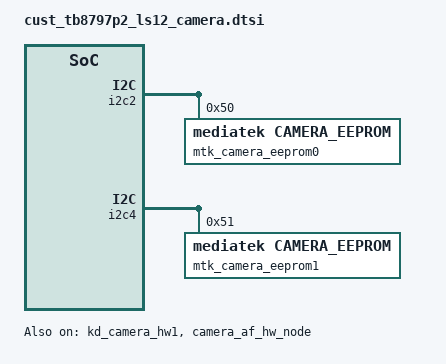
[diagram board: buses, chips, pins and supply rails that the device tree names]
// SPDX-License-Identifier: GPL-2.0
/*
 * Copyright (c) 2018 MediaTek Inc.
 */
/* CAMERA GPIO standardization */
&pio {
	camera_pins_cam0_rst_0: cam0@0 {
		pins_cmd_dat {
			pinmux = <PINMUX_GPIO147__FUNC_GPIO147>;
			slew-rate = <1>;
			output-low;
		};
	};
	camera_pins_cam0_rst_1: cam0@1 {
		pins_cmd_dat {
			pinmux = <PINMUX_GPIO147__FUNC_GPIO147>;
			slew-rate = <1>;
			output-high;
		};
	};
	camera_pins_cam0_pnd_0: cam0@2 {
		pins_cmd_dat {
			pinmux = <PINMUX_GPIO137__FUNC_GPIO137>;
			slew-rate = <1>;
			output-low;
		};
	};
	camera_pins_cam0_pnd_1: cam0@3 {
		pins_cmd_dat {
			pinmux = <PINMUX_GPIO137__FUNC_GPIO137>;
			slew-rate = <1>;
			output-high;
		};
	};
	camera_pins_cam0_af_0: cam0@4 {
		pins_cmd_dat {
			pinmux = <PINMUX_GPIO148__FUNC_GPIO148>;
			slew-rate = <1>;
			output-low;
		};
	};
	camera_pins_cam0_af_1: cam0@5 {
		pins_cmd_dat {
			pinmux = <PINMUX_GPIO148__FUNC_GPIO148>;
			slew-rate = <1>;
			output-high;
		};
	};
	camera_pins_cam1_rst_0: cam1@0 {
		pins_cmd_dat {
			pinmux = <PINMUX_GPIO133__FUNC_GPIO133>;
			slew-rate = <1>;
			output-low;
		};
	};
	camera_pins_cam1_rst_1: cam1@1 {
		pins_cmd_dat {
			pinmux = <PINMUX_GPIO133__FUNC_GPIO133>;
			slew-rate = <1>;
			output-high;
		};
	};
	camera_pins_cam1_pnd_0: cam1@2 {
		pins_cmd_dat {
			pinmux = <PINMUX_GPIO133__FUNC_GPIO133>;
			slew-rate = <1>;
			output-low;
		};
	};
	camera_pins_cam1_pnd_1: cam1@3 {
		pins_cmd_dat {
			pinmux = <PINMUX_GPIO133__FUNC_GPIO133>;
			slew-rate = <1>;
			output-high;
		};
	};
	camera_pins_cam3_rst_0: cam3@0 {
		pins_cmd_dat {
			pinmux = <PINMUX_GPIO146__FUNC_GPIO146>;
			slew-rate = <1>;
			output-low;
		};
	};
	camera_pins_cam3_rst_1: cam3@1 {
		pins_cmd_dat {
			pinmux = <PINMUX_GPIO146__FUNC_GPIO146>;
			slew-rate = <1>;
			output-high;
		};
	};
	camera_pins_cam3_pnd_0: cam3@2 {
		pins_cmd_dat {
			pinmux = <PINMUX_GPIO146__FUNC_GPIO146>;
			slew-rate = <1>;
			output-low;
		};
	};
	camera_pins_cam3_pnd_1: cam3@3 {
		pins_cmd_dat {
			pinmux = <PINMUX_GPIO146__FUNC_GPIO146>;
			slew-rate = <1>;
			output-high;
		};
	};
	camera_pins_cam0_vcamd_0: cam0@vcam0 {
		pins_cmd_dat {
			pinmux = <PINMUX_GPIO50__FUNC_GPIO50>;
			slew-rate = <1>;
			output-low;
		};
	};
	camera_pins_cam0_vcamd_1: cam0@vcam1 {
		pins_cmd_dat {
			pinmux = <PINMUX_GPIO50__FUNC_GPIO50>;
			slew-rate = <1>;
			output-high;
		};
	};
	camera_pins_cam0_vcama_0: cam0@vcam2 {
		pins_cmd_dat {
			pinmux = <PINMUX_GPIO49__FUNC_GPIO49>;
			slew-rate = <1>;
			output-low;
		};
	};
	camera_pins_cam0_vcama_1: cam0@vcam3 {
		pins_cmd_dat {
			pinmux = <PINMUX_GPIO49__FUNC_GPIO49>;
			slew-rate = <1>;
			output-high;
		};
	};
	camera_pins_cam1_vcamd_0: cam1@vcam0 {
		pins_cmd_dat {
			pinmux = <PINMUX_GPIO135__FUNC_GPIO135>;
			slew-rate = <1>;
			output-low;
		};
	};
	camera_pins_cam1_vcamd_1: cam1@vcam1 {
		pins_cmd_dat {
			pinmux = <PINMUX_GPIO135__FUNC_GPIO135>;
			slew-rate = <1>;
			output-high;
		};
	};
	camera_pins_cam1_vcama_0: cam1@vcam2 {
		pins_cmd_dat {
			pinmux = <PINMUX_GPIO134__FUNC_GPIO134>;
			slew-rate = <1>;
			output-low;
		};
	};
	camera_pins_cam1_vcama_1: cam1@vcam3 {
		pins_cmd_dat {
			pinmux = <PINMUX_GPIO134__FUNC_GPIO134>;
			slew-rate = <1>;
			output-high;
		};
	};
	camera_pins_cam3_vcamd_0: cam3@vcam0 {
		pins_cmd_dat {
			pinmux = <PINMUX_GPIO138__FUNC_GPIO138>;
			slew-rate = <1>;
			output-low;
		};
	};
	camera_pins_cam3_vcamd_1: cam3@vcam1 {
		pins_cmd_dat {
			pinmux = <PINMUX_GPIO138__FUNC_GPIO138>;
			slew-rate = <1>;
			output-high;
		};
	};
	camera_pins_cam3_vcama_0: cam3@vcam2 {
		pins_cmd_dat {
			pinmux = <PINMUX_GPIO137__FUNC_GPIO137>;
			slew-rate = <1>;
			output-low;
		};
	};
	camera_pins_cam3_vcama_1: cam3@vcam3 {
		pins_cmd_dat {
			pinmux = <PINMUX_GPIO137__FUNC_GPIO137>;
			slew-rate = <1>;
			output-high;
		};
	};
	camera_pins_cam0_mclk_off: camera_pins_cam0_mclk_off {
		pins_cmd_dat {
			pinmux = <PINMUX_GPIO150__FUNC_GPIO150>;
			drive-strength = <1>;
		};
	};
	camera_pins_cam0_mclk_2ma: camera_pins_cam0_mclk_2ma {
		pins_cmd_dat {
			pinmux = <PINMUX_GPIO150__FUNC_CMMCLK1>;
			drive-strength = <0>;
		};
	};
	camera_pins_cam0_mclk_4ma: camera_pins_cam0_mclk_4ma {
		pins_cmd_dat {
			pinmux = <PINMUX_GPIO150__FUNC_CMMCLK1>;
			drive-strength = <1>;
		};
	};
	camera_pins_cam0_mclk_6ma: camera_pins_cam0_mclk_6ma {
		pins_cmd_dat {
			pinmux = <PINMUX_GPIO150__FUNC_CMMCLK1>;
			drive-strength = <2>;
		};
	};
	camera_pins_cam0_mclk_8ma: camera_pins_cam0_mclk_8ma {
		pins_cmd_dat {
			pinmux = <PINMUX_GPIO150__FUNC_CMMCLK1>;
			drive-strength = <3>;
		};
	};
	camera_pins_cam1_mclk_off: camera_pins_cam1_mclk_off {
		pins_cmd_dat {
			pinmux = <PINMUX_GPIO136__FUNC_GPIO136>;
			drive-strength = <1>;
		};
	};
	camera_pins_cam1_mclk_2ma: camera_pins_cam1_mclk_2ma {
		pins_cmd_dat {
			pinmux = <PINMUX_GPIO136__FUNC_CMMCLK3>;
			drive-strength = <0>;
		};
	};
	camera_pins_cam1_mclk_4ma: camera_pins_cam1_mclk_4ma {
		pins_cmd_dat {
			pinmux = <PINMUX_GPIO136__FUNC_CMMCLK3>;
			drive-strength = <1>;
		};
	};
	camera_pins_cam1_mclk_6ma: camera_pins_cam1_mclk_6ma {
		pins_cmd_dat {
			pinmux = <PINMUX_GPIO136__FUNC_CMMCLK3>;
			drive-strength = <2>;
		};
	};
	camera_pins_cam1_mclk_8ma: camera_pins_cam1_mclk_8ma {
		pins_cmd_dat {
			pinmux = <PINMUX_GPIO136__FUNC_CMMCLK3>;
			drive-strength = <3>;
		};
	};
	camera_pins_cam3_mclk_off: camera_pins_cam3_mclk_off {
		pins_cmd_dat {
			pinmux = <PINMUX_GPIO149__FUNC_GPIO149>;
			drive-strength = <1>;
		};
	};
	camera_pins_cam3_mclk_2ma: camera_pins_cam3_mclk_2ma {
		pins_cmd_dat {
			pinmux = <PINMUX_GPIO149__FUNC_CMMCLK0>;
			drive-strength = <0>;
		};
	};
	camera_pins_cam3_mclk_4ma: camera_pins_cam3_mclk_4ma {
		pins_cmd_dat {
			pinmux = <PINMUX_GPIO149__FUNC_CMMCLK0>;
			drive-strength = <1>;
		};
	};
	camera_pins_cam3_mclk_6ma: camera_pins_cam3_mclk_6ma {
		pins_cmd_dat {
			pinmux = <PINMUX_GPIO149__FUNC_CMMCLK0>;
			drive-strength = <2>;
		};
	};
	camera_pins_cam3_mclk_8ma: camera_pins_cam3_mclk_8ma {
		pins_cmd_dat {
			pinmux = <PINMUX_GPIO149__FUNC_CMMCLK0>;
			drive-strength = <3>;
		};
	};
	camera_pins_default: camdefault {
	};
};
&kd_camera_hw1 {
	pinctrl-names = "default",
			"cam0_rst0", "cam0_rst1",
			"cam0_pnd0", "cam0_pnd1",
			"cam1_rst0", "cam1_rst1",
			"cam1_pnd0", "cam1_pnd1",
			"cam3_rst0", "cam3_rst1",
			"cam3_pnd0", "cam3_pnd1",
			"cam0_ldo_vcamd_0", "cam0_ldo_vcamd_1",
			"cam0_ldo_vcama_0", "cam0_ldo_vcama_1",
			"cam1_ldo_vcamd_0", "cam1_ldo_vcamd_1",
			"cam1_ldo_vcama_0", "cam1_ldo_vcama_1",
			"cam3_ldo_vcamd_0", "cam3_ldo_vcamd_1",
			"cam3_ldo_vcama_0", "cam3_ldo_vcama_1",
			"cam0_mclk_off",
			"cam0_mclk_2mA", "cam0_mclk_4mA",
			"cam0_mclk_6mA", "cam0_mclk_8mA",
			"cam1_mclk_off",
			"cam1_mclk_2mA", "cam1_mclk_4mA",
			"cam1_mclk_6mA", "cam1_mclk_8mA",
			"cam3_mclk_off",
			"cam3_mclk_2mA", "cam3_mclk_4mA",
			"cam3_mclk_6mA", "cam3_mclk_8mA";
//			"cam0_ldo_vcamaf_0", "cam0_ldo_vcamaf_1";

	pinctrl-0 = <&camera_pins_default>;
	pinctrl-1 = <&camera_pins_cam0_rst_0>;
	pinctrl-2 = <&camera_pins_cam0_rst_1>;
	pinctrl-3 = <&camera_pins_cam0_pnd_0>;
	pinctrl-4 = <&camera_pins_cam0_pnd_1>;
	pinctrl-5 = <&camera_pins_cam1_rst_0>;
	pinctrl-6 = <&camera_pins_cam1_rst_1>;
	pinctrl-7 = <&camera_pins_cam1_pnd_0>;
	pinctrl-8 = <&camera_pins_cam1_pnd_1>;
	pinctrl-9 = <&camera_pins_cam3_rst_0>;
	pinctrl-10 = <&camera_pins_cam3_rst_1>;
	pinctrl-11 = <&camera_pins_cam3_pnd_0>;
	pinctrl-12 = <&camera_pins_cam3_pnd_1>;
	pinctrl-13 = <&camera_pins_cam0_vcamd_0>;
	pinctrl-14 = <&camera_pins_cam0_vcamd_1>;
	pinctrl-15 = <&camera_pins_cam0_vcama_0>;
	pinctrl-16 = <&camera_pins_cam0_vcama_1>;
	pinctrl-17 = <&camera_pins_cam1_vcamd_0>;
	pinctrl-18 = <&camera_pins_cam1_vcamd_1>;
	pinctrl-19 = <&camera_pins_cam1_vcama_0>;
	pinctrl-20 = <&camera_pins_cam1_vcama_1>;
	pinctrl-21 = <&camera_pins_cam3_vcamd_0>;
	pinctrl-22 = <&camera_pins_cam3_vcamd_1>;
	pinctrl-23 = <&camera_pins_cam3_vcama_0>;
	pinctrl-24 = <&camera_pins_cam3_vcama_1>;
	pinctrl-25 = <&camera_pins_cam0_mclk_off>;
	pinctrl-26 = <&camera_pins_cam0_mclk_2ma>;
	pinctrl-27 = <&camera_pins_cam0_mclk_4ma>;
	pinctrl-28 = <&camera_pins_cam0_mclk_6ma>;
	pinctrl-29 = <&camera_pins_cam0_mclk_8ma>;
	pinctrl-30 = <&camera_pins_cam1_mclk_off>;
	pinctrl-31 = <&camera_pins_cam1_mclk_2ma>;
	pinctrl-32 = <&camera_pins_cam1_mclk_4ma>;
	pinctrl-33 = <&camera_pins_cam1_mclk_6ma>;
	pinctrl-34 = <&camera_pins_cam1_mclk_8ma>;
	pinctrl-35 = <&camera_pins_cam3_mclk_off>;
	pinctrl-36 = <&camera_pins_cam3_mclk_2ma>;
	pinctrl-37 = <&camera_pins_cam3_mclk_4ma>;
	pinctrl-38 = <&camera_pins_cam3_mclk_6ma>;
	pinctrl-39 = <&camera_pins_cam3_mclk_8ma>;
//	pinctrl-40 = <&camera_pins_cam0_af_0>;
//	pinctrl-41 = <&camera_pins_cam0_af_1>;


	cam0_vcamio-supply = <&mt_pmic_vcamio_ldo_reg>;
	cam0_vcamaf-supply = <&mt_pmic_vibr_ldo_reg>;
	cam1_vcamio-supply = <&mt_pmic_vcamio_ldo_reg>;
	cam3_vcamio-supply = <&mt_pmic_vcamio_ldo_reg>;

	cam0_pin_mclk = "mclk";
	cam0_pin_pdn = "gpio";
	cam0_pin_rst = "gpio";
	cam0_pin_vcama = "gpio";
	cam0_pin_vcamd = "gpio";
	cam0_pin_vcamaf = "regulator";
	cam0_pin_vcamio = "regulator";
	cam1_pin_mclk = "mclk";
	cam1_pin_pdn = "gpio";
	cam1_pin_rst = "gpio";
	cam1_pin_vcama = "gpio";
	cam1_pin_vcamd = "gpio";
	cam1_pin_vcamio = "regulator";
	cam3_pin_mclk = "mclk";
	cam3_pin_pdn = "gpio";
	cam3_pin_rst = "gpio";
	cam3_pin_vcama = "gpio";
	cam3_pin_vcamd = "gpio";
	cam3_pin_vcamio = "regulator";

    cam0_enable_sensor = "tsppk8a3288_gc08a3_mipi_raw";
    cam1_enable_sensor = "tsppk8f3287_gc08a3_mipi_raw";
    cam3_enable_sensor = "tsppkcf3290_gc13a0_mipi_raw";

	status = "okay";
};
/* CAMERA GPIO end */


&camera_af_hw_node {
	camaf_m1_pmic-supply = <&mt_pmic_vibr_ldo_reg>;
	status = "okay";
};


/* CAMERA EEPROM */
&i2c2 {
	mtk_camera_eeprom0:camera_eeprom0@50 {
		compatible = "mediatek,camera_eeprom";
		reg = <0x50>;
		status = "okay";
	};
};
&i2c4 {
	mtk_camera_eeprom1:camera_eeprom1@51 {
		compatible = "mediatek,camera_eeprom";
		reg = <0x51>;
		status = "okay";
	};
};
/* CAMERA EEPROM end */
